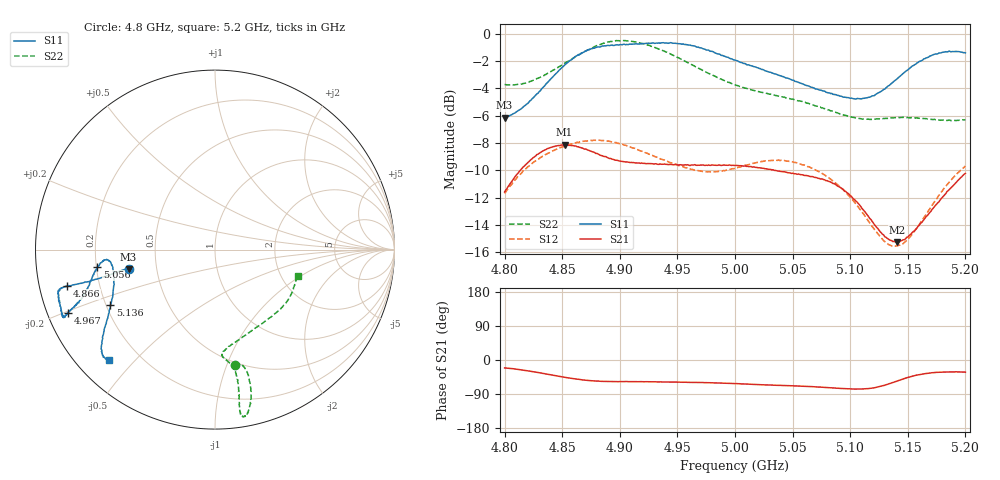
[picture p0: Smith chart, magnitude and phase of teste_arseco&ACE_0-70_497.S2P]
! Network Analyzer HP8722D
! Hewlett-Packard
! Data name: Linha & Wilkinson
! Saver's name: Rodrigo Anjos
! Comments: Teste da utilização de aquisição
! continua pelo VNA HP8722D
! Time and date: 8/5/2025 16:54
!  Frequency  S11  S21  S12  S22
# HZ  S  MA R 50
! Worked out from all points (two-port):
!   401 points, 4.8 GHz to 5.2 GHz, reference 50 ohm
!   highest |S21| = -8.12 dB at 4.852 GHz (marker M1); lowest = -15.2 dB at 5.141 GHz (marker M2)
!   |S21| within 3 dB of the highest: 4.804 GHz to 5.089 GHz (285.1 MHz wide, 5.76 % of centre); 5.189336 GHz to end of sweep
!   lowest |S11| = -6.1 dB at 4.8 GHz (marker M3), VSWR 2.95, Z = 17.2 - j4.92 ohm
!   |S11| at or under -10 dB: nowhere
!   |S22| runs from -6.4 to -0.5 dB; largest |S21 - S12| = 0.62
!   S11 on the Smith chart (normalised r, x): 4.8 GHz: 0.34, -0.10; 4.866 GHz: 0.08, -0.12; 4.967 GHz: 0.06, -0.21; 5.056 GHz: 0.20, -0.07; 5.136 GHz: 0.22, -0.24; 5.2 GHz: 0.09, -0.42
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4.8e9  0.4933 -167.3  0.2638 -20.8  0.2605 -142.1  0.6529 -80.2
4.827e9  0.5962 -166.6  0.3574 -31.9  0.3431 -146.4  0.6817 -75.8
4.852e9  0.7678 -165.8  0.3928 -45.6  0.3883 -150.9  0.7795 -75.4
4.866e9  0.8465 -166.1  0.3833 -51.8  0.4028 -153.1  0.8443 -76.2
4.867e9  0.8512 -166.0  0.3823 -52.3  0.403 -153.3  0.8503 -76.3
4.88e9  0.8926 -165.7  0.3652 -55.8  0.4079 -155.1  0.9054 -77.7
4.899e9  0.9092 -163.0  0.343 -57.2  0.3974 -157.4  0.9437 -79.9
4.934e9  0.926 -156.9  0.3328 -58.0  0.3516 -155.9  0.8785 -81.2
4.967e9  0.8932 -156.6  0.3301 -59.2  0.3158 -148.3  0.7525 -80.2
5e9  0.8014 -159.5  0.3297 -62.3  0.3227 -137.8  0.6502 -81.8
5.032e9  0.7195 -165.4  0.3179 -66.2  0.3442 -135.1  0.599 -85.8
5.056e9  0.662 -171.6  0.3059 -68.8  0.3344 -136.9  0.5678 -85.1
5.067e9  0.6367 -173.5  0.3005 -70.3  0.322 -137.9  0.5493 -82.7
5.083e9  0.6044 -174.8  0.2868 -73.5  0.2939 -139.4  0.5226 -76.3
5.102e9  0.5799 -171.0  0.2511 -76.7  0.2473 -139.3  0.4949 -65.1
5.116e9  0.5858 -164.1  0.2141 -75.4  0.2059 -135.1  0.4869 -54.8
5.134e9  0.6475 -153.1  0.1763 -62.7  0.1688 -118.3  0.4926 -42.8
5.136e9  0.6596 -152.0  0.175 -60.7  0.1674 -115.7  0.4921 -41.5
5.141e9  0.6862 -149.2  0.173 -55.2  0.1675 -109.0  0.4939 -38.7
5.152e9  0.7493 -144.9  0.1841 -44.4  0.1807 -95.4  0.4924 -32.9
5.172e9  0.8383 -139.1  0.2299 -33.6  0.239 -81.1  0.4855 -24.4
5.2e9  0.8516 -133.9  0.3084 -32.3  0.3281 -77.8  0.4848 -17.8
